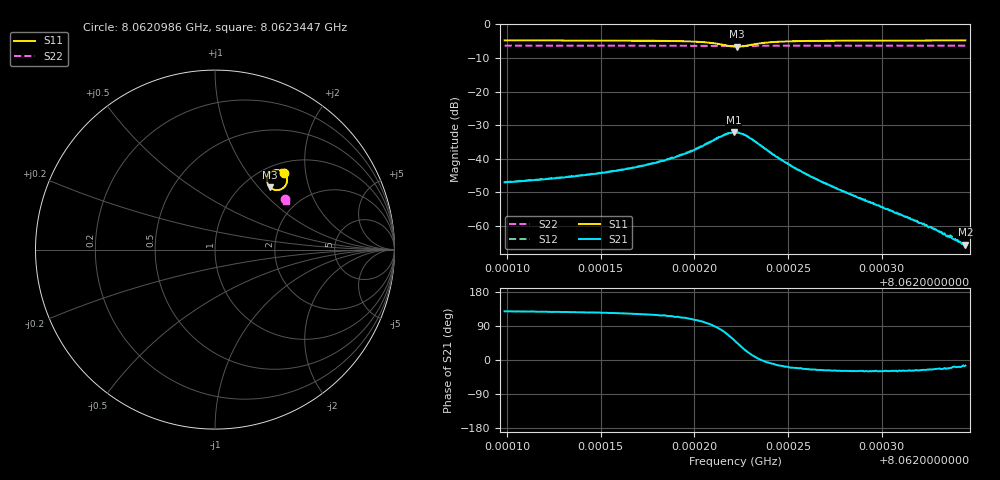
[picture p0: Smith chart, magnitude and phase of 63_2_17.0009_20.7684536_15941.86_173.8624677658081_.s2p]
#  HZ  S  RI  R  50.00
! Rohde & Schwarz Vector Network Analyzer
! Rohde-Schwarz,ZNB20-2Port,1311601062101988,3.16
! Created: UTC 3/20/2024, 10:54:54 PM
! freq[Hz]  re:S11  im:S11  re:S21  im:S21  re:S12  im:S12  re:S22  im:S22
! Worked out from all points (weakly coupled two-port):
!   401 points, 8.0620986 GHz to 8.0623447 GHz, reference 50 ohm
!   highest |S21| = -32.12 dB at 8.0622211 GHz (marker M1); lowest = -65.5 dB at 8.0623447 GHz (marker M2)
!   lowest |S11| = -6.7 dB at 8.0622229 GHz (marker M3), VSWR 2.73, Z = 65.5 + j57.8 ohm
!   |S11| at or under -10 dB: nowhere
!   |S22| runs from -6.4 to -6.3 dB; largest |S21 - S12| = 0.0019
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8.06209861e9  0.384 0.4284  -0.00279 0.00351  -0.00262 0.0037  0.3888 0.2845
8.06211768e9  0.3864 0.4257  -0.00296 0.0039  -0.00281 0.00414  0.3895 0.2837
8.06213983e9  0.3897 0.4218  -0.00332 0.00463  -0.00306 0.00483  0.3902 0.2824
8.06216137e9  0.3937 0.4156  -0.00375 0.00575  -0.00345 0.0061  0.391 0.2811
8.06218106e9  0.3985 0.4052  -0.00423 0.00795  -0.00381 0.00832  0.3917 0.2797
8.06219706e9  0.4016 0.3863  -0.00419 0.0119  -0.00335 0.0124  0.3918 0.2781
8.06220813e9  0.3936 0.3584  -0.00145 0.0175  -0.000283 0.0179  0.3914 0.2766
8.06221675e9  0.3558 0.3322  0.00755 0.0218  0.00909 0.0215  0.3899 0.2756
8.06222106e9  0.3211 0.3371  0.0149 0.0198  0.0164 0.0187  0.3885 0.2762
8.06222167e9  0.3163 0.3397  0.0157 0.0191  0.0172 0.0179  0.3884 0.2762
8.0622229e9  0.3077 0.3464  0.0174 0.0173  0.0188 0.0161  0.3881 0.2767
8.06222844e9  0.29 0.3881  0.02 0.00764  0.0206 0.00633  0.3883 0.2786
8.06223767e9  0.3117 0.4311  0.0142 -0.00105  0.014 -0.00187  0.3901 0.2796
8.06224259e9  0.325 0.4387  0.0112 -0.00216  0.011 -0.00307  0.3911 0.2794
8.06225244e9  0.3433 0.4427  0.0072 -0.00267  0.00702 -0.00304  0.392 0.2789
8.0622629e9  0.3547 0.442  0.00482 -0.00226  0.00471 -0.00258  0.3928 0.2782
8.06228074e9  0.3654 0.4393  0.00279 -0.00152  0.0027 -0.00169  0.3939 0.2771
8.06230412e9  0.3729 0.4358  0.00151 -0.000855  0.00144 -0.000908  0.3948 0.2757
8.06232628e9  0.3775 0.4332  0.000877 -0.00042  0.00083 -0.000472  0.3956 0.2745
8.06233797e9  0.3792 0.432  0.000616 -0.000205  0.0006 -0.000286  0.3961 0.2738
8.06234227e9  0.3799 0.4316  0.000543 -0.000182  0.000499 -0.000238  0.3962 0.2737
8.06234474e9  0.3802 0.4315  0.000515 -0.000135  0.000468 -0.000185  0.3962 0.2735
